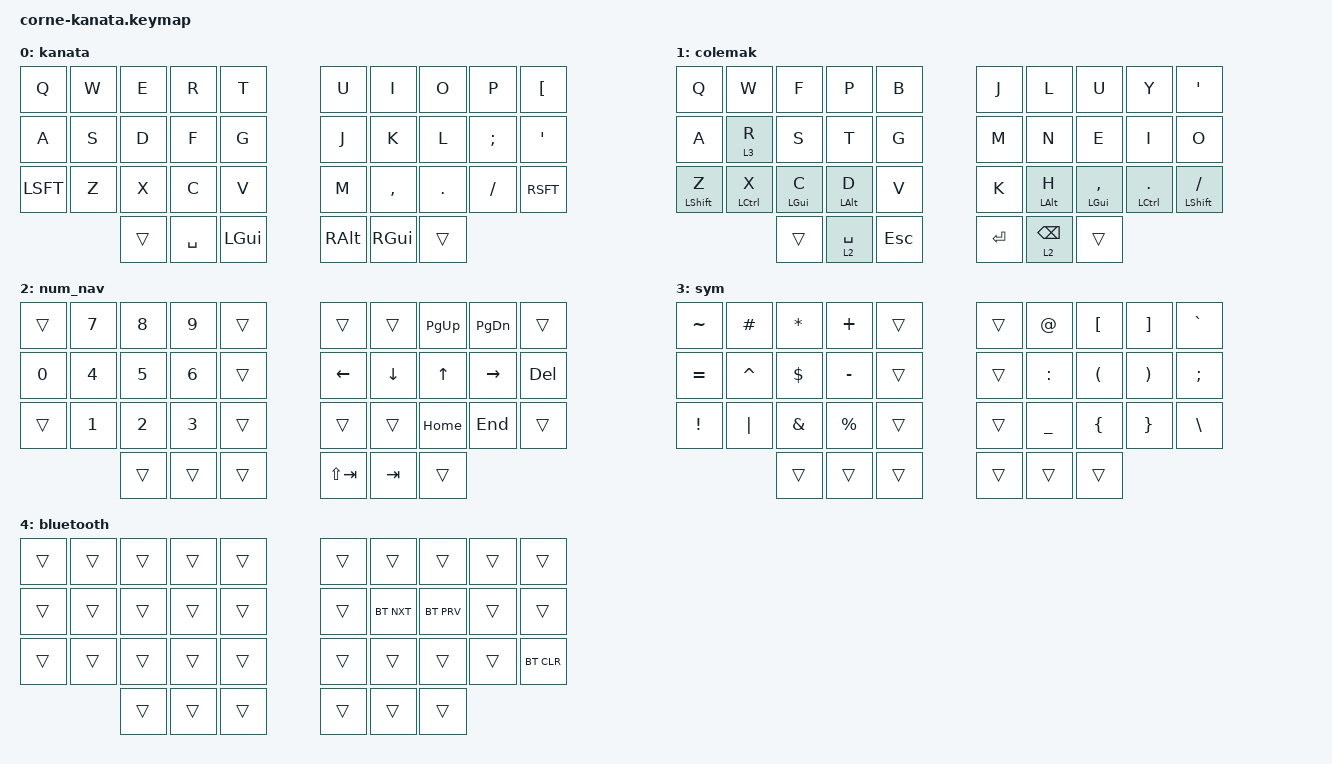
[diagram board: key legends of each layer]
#define ___ &trans

#include <behaviors.dtsi>
#include <dt-bindings/zmk/keys.h>
#include <dt-bindings/zmk/bt.h>

#include <dt-bindings/zmk/pointing.h>
#include <input/processors.dtsi>

/ {
    chosen {
        zmk,physical-layout = &foostan_corne_5col_layout;
    };

    behaviors {
        mod: mod {
            compatible = "zmk,behavior-hold-tap";
            flavor = "balanced";
            bindings = <&kp>, <&kp>;
            #binding-cells = <2>;
            tapping-term-ms = <200>;
        };

        layer: layer {
            compatible = "zmk,behavior-hold-tap";
            flavor = "balanced";
            bindings = <&mo>, <&kp>;
            #binding-cells = <2>;
            tapping-term-ms = <200>;
        };
    };

    macros {
        kanata_exit: kanata_exit {
            compatible = "zmk,behavior-macro";
            #binding-cells = <0>;
            wait-ms = <40>;
            bindings
                = <&macro_press &kp LCTRL &kp SPACE &kp ESC>
                , <&macro_pause_for_release>
                , <&macro_release &kp ESC &kp SPACE &kp LCTRL>
                ;
        };
    };

    combos {
        compatible = "zmk,combos";
        // Hold both outer bottom-row pinky keys to exit Kanata.
        combo_kanata_exit {
            timeout-ms = <50>;
            key-positions = <20 29>;
            bindings = <&kanata_exit>;
        };
        combo_bluetooth {
            timeout-ms = <50>;
            key-positions = <0 1 2 3 30>;
            bindings = <&mo 4>;
            require-prior-idle-ms = <1000>;
        };
        combo_kanata {
            timeout-ms = <50>;
            key-positions = <0 1 2 3>;
            bindings = <&tog 1>;
            require-prior-idle-ms = <1000>;
        };
    };

    keymap {
        compatible = "zmk,keymap";

        kanata {
            bindings = <
&kp Q               &kp W               &kp E               &kp R               &kp T               &kp U               &kp I               &kp O               &kp P               &kp LBKT
&kp A               &kp S               &kp D               &kp F               &kp G               &kp J               &kp K               &kp L               &kp SEMI            &kp SQT
&kp LSFT            &kp Z               &kp X               &kp C               &kp V               &kp M               &kp COMMA           &kp DOT             &kp FSLH            &kp RSFT
                                        ___                 &kp SPACE           &kp LGUI            &kp RALT            &kp RGUI            ___
            >;
        };

        colemak {
            bindings = <
&kp Q               &kp W               &kp F               &kp P               &kp B               &kp J               &kp L               &kp U               &kp Y               &kp SQT
&kp A               &layer 3 R          &kp S               &kp T               &kp G               &kp M               &kp N               &kp E               &kp I               &kp O
&mod LSHIFT Z       &mod LCTRL X        &mod LGUI C         &mod LALT D         &kp V               &kp K               &mod LALT H         &mod LGUI COMMA     &mod LCTRL DOT      &mod LSHIFT FSLH
                                        ___                 &layer 2 SPACE      &kp ESC             &kp RET             &layer 2 BSPC       ___
            >;
        };

        num_nav {
            bindings = <
___                 &kp N7              &kp N8              &kp N9              ___                 ___                 ___                 &kp PG_UP           &kp PG_DN           ___
&kp N0              &kp N4              &kp N5              &kp N6              ___                 &kp LEFT            &kp DOWN            &kp UP              &kp RIGHT           &kp DEL
___                 &kp N1              &kp N2              &kp N3              ___                 ___                 ___                 &kp HOME            &kp END             ___
                                        ___                 ___                 ___                 &kp LS(TAB)         &kp TAB             ___
            >;
        };

        sym {
            bindings = <
&kp TILDE           &kp HASH            &kp STAR            &kp PLUS            ___                 ___                 &kp AT              &kp LBKT            &kp RBKT            &kp GRAVE
&kp EQUAL           &kp CARET           &kp DLLR            &kp MINUS           ___                 ___                 &kp COLON           &kp LPAR            &kp RPAR            &kp SEMI
&kp EXCL            &kp PIPE            &kp AMPS            &kp PRCNT           ___                 ___                 &kp UNDER           &kp LBRC            &kp RBRC            &kp BSLH
                                        ___                 ___                 ___                 ___                 ___                 ___
            >;
        };

        bluetooth {
            bindings = <
___                 ___                 ___                 ___                 ___                 ___                 ___                 ___                 ___                 ___
___                 ___                 ___                 ___                 ___                 ___                 &bt BT_NXT          &bt BT_PRV          ___                 ___
___                 ___                 ___                 ___                 ___                 ___                 ___                 ___                 ___                 &bt BT_CLR
                                        ___                 ___                 ___                 ___                 ___                 ___
            >;
        };
    };
};
